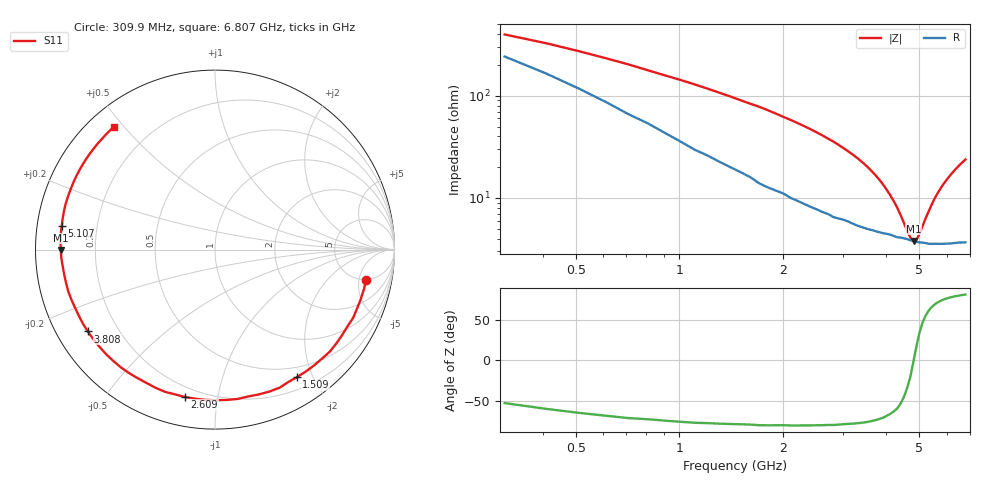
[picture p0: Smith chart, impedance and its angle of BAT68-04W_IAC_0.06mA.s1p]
! Infineon Technologies  Discrete & RF Semiconductors
! BAT68-04W
! IAC = 0.06 mA
! One-Port S-Parameters
# Hz  S  MA  R  50
!f  S11
!Hz  Mag  Ang
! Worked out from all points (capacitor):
!   66 points, 309.9 MHz to 6.807 GHz, reference 50 ohm
!   read as one part to ground: C = 1.37 pF near 309.9 MHz
!   lowest |Z| = 3.79 ohm at 4.808 GHz (marker M1)
!   series resonance near 4.812 GHz, so ESL is about 800 pH
!   S11 on the Smith chart (normalised r, x): 309.9 MHz: 4.84, -6.31; 1.509 GHz: 0.36, -1.77; 2.609 GHz: 0.15, -0.81; 3.808 GHz: 0.09, -0.29; 5.107 GHz: 0.07, +0.08; 6.807 GHz: 0.07, +0.47
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3.0985e8  0.8592 -11.5
5.0975e8  0.8576 -18.9
7.0965e8  0.8583 -26.4
1.0095e9  0.8549 -37.8
1.2094e9  0.8511 -45.5
1.50925e9  0.8444 -57.5
1.70915e9  0.8495 -65.0
1.8091e9  0.8471 -69.1
2.009e9  0.8389 -77.5
2.10895e9  0.8416 -81.4
2.30885e9  0.8393 -89.5
2.4088e9  0.8391 -93.5
2.6087e9  0.8383 -101.5
2.8086e9  0.84 -109.3
3.10845e9  0.8361 -121.3
3.30835e9  0.84 -128.7
3.6082e9  0.8412 -140.0
3.8081e9  0.8426 -147.2
4.10795e9  0.8447 -157.7
4.4078e9  0.8505 -167.5
4.8076e9  0.8592 -179.9
5.10745e9  0.8644 171.1
5.2074e9  0.8663 168.3
5.4073e9  0.8702 162.7
5.6072e9  0.8717 157.2
6.007e9  0.8766 147.1
6.4068e9  0.8808 137.9
6.8066e9  0.8864 129.5
